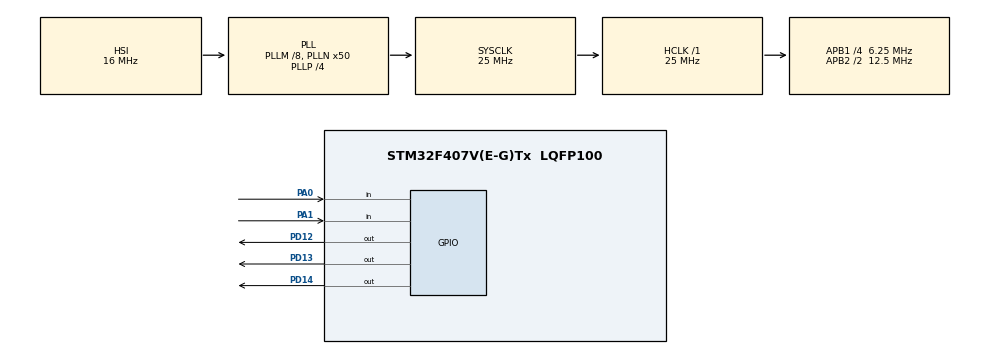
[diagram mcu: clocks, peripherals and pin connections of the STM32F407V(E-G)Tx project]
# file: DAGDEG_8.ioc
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FREERTOS.Queues01=ledIdentifer,1,uint16_t,0,Dynamic,NULL,NULL
FREERTOS.Tasks01=selectTask,24,1024,selectTaskFunction,Default,NULL,Dynamic,NULL,NULL;ledTask,8,1024,ledTaskFunction,Default,NULL,Dynamic,NULL,NULL
Mcu.Family=STM32F4
Mcu.Name=STM32F407V(E-G)Tx
Mcu.Package=LQFP100
NVIC.PriorityGroup=NVIC_PRIORITYGROUP_4
NVIC.TIM1_UP_TIM10_IRQn=true\:15\:0\:false\:false\:true\:false\:false\:true\:true
NVIC.TimeBase=TIM1_UP_TIM10_IRQn
NVIC.TimeBaseIP=TIM1
PA0-WKUP.GPIO_PuPd=GPIO_PULLDOWN
PA0-WKUP.Signal=GPIO_Input
PA1.GPIO_PuPd=GPIO_PULLDOWN
PA1.Signal=GPIO_Input
PD12.Signal=GPIO_Output
PD13.Signal=GPIO_Output
PD14.Signal=GPIO_Output
ProjectManager.HeapSize=0x200
ProjectManager.StackSize=0x400
ProjectManager.TargetToolchain=STM32CubeIDE
RCC.48MHZClocksFreq_Value=14285714.285714285
RCC.AHBFreq_Value=25000000
RCC.APB1CLKDivider=RCC_HCLK_DIV4
RCC.APB1Freq_Value=6250000
RCC.APB1TimFreq_Value=12500000
RCC.APB2CLKDivider=RCC_HCLK_DIV2
RCC.APB2Freq_Value=12500000
RCC.APB2TimFreq_Value=25000000
RCC.CortexFreq_Value=25000000
RCC.HCLKFreq_Value=25000000
RCC.HSE_VALUE=8000000
RCC.HSI_VALUE=16000000
RCC.LSE_VALUE=32768
RCC.PLLM=8
RCC.PLLN=50
RCC.PLLP=RCC_PLLP_DIV4
RCC.PLLQ=7
RCC.SYSCLKFreq_VALUE=25000000
RCC.SYSCLKSource=RCC_SYSCLKSOURCE_PLLCLK
RCC.VCOOutputFreq_Value=100000000
VP_FREERTOS_VS_CMSIS_V2.Mode=CMSIS_V2
VP_SYS_VS_tim1.Mode=TIM1
board=STM32F407G-DISC1

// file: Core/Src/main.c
/* USER CODE BEGIN Header */
/**
  ******************************************************************************
  * @file           : main.c
  * @brief          : Main program body
  ******************************************************************************
  * @attention
  *
  * Copyright (c) 2025 STMicroelectronics.
  * All rights reserved.
  *
  * This software is licensed under terms that can be found in the LICENSE file
  * in the root directory of this software component.
  * If no LICENSE file comes with this software, it is provided AS-IS.
  *
  ******************************************************************************
  */
/* USER CODE END Header */
#include "main.h"
#include "cmsis_os.h"

/* USER CODE BEGIN Includes */
#define ID0 0x00
#define ID1 0x01
#define ID2 0x02
#define ID3 0x03
/* USER CODE END Includes */

/* USER CODE BEGIN PTD */
// Define the LED pins
#define LED_GREEN  GPIO_PIN_12
#define LED_ORANGE GPIO_PIN_13
#define LED_RED   GPIO_PIN_14

// Define the button pins
#define USER_BUTTON  GPIO_PIN_0
#define EXTERNAL_BUTTON GPIO_PIN_1

/* USER CODE END PTD */

/* Definitions for selectTask */
osThreadId_t selectTaskHandle;
const osThreadAttr_t selectTask_attributes = {
  .name = "selectTask",
  .stack_size = 1024 * 4,
  .priority = (osPriority_t) osPriorityNormal,
};
/* Definitions for ledTask */
osThreadId_t ledTaskHandle;
const osThreadAttr_t ledTask_attributes = {
  .name = "ledTask",
  .stack_size = 1024 * 4,
  .priority = (osPriority_t) osPriorityLow,
};
/* Definitions for ledIdentifer */
osMessageQueueId_t ledIdentiferHandle;
const osMessageQueueAttr_t ledIdentifer_attributes = {
  .name = "ledIdentifer"
};

void SystemClock_Config(void);
static void MX_GPIO_Init(void);
void selectTaskFunction(void *argument);
void ledTaskFunction(void *argument);

int main(void)
{

  /* MCU Configuration--------------------------------------------------------*/

  /* Reset of all peripherals, Initializes the Flash interface and the Systick. */
  HAL_Init();

  /* Configure the system clock */
  SystemClock_Config();

  /* Initialize all configured peripherals */
  MX_GPIO_Init();

  /* Init scheduler */
  osKernelInitialize();

  /* Create the queue(s) */
  /* creation of ledIdentifer */
  ledIdentiferHandle = osMessageQueueNew (1, sizeof(uint16_t), &ledIdentifer_attributes);

  /* Create the thread(s) */
  /* creation of selectTask */
  selectTaskHandle = osThreadNew(selectTaskFunction, NULL, &selectTask_attributes);

  /* creation of ledTask */
  ledTaskHandle = osThreadNew(ledTaskFunction, NULL, &ledTask_attributes);

  /* Start scheduler */
  osKernelStart();

  /* We should never get here as control is now taken by the scheduler */

  /* Infinite loop */
  while (1)
  {

  }
}

void SystemClock_Config(void)
{
  RCC_OscInitTypeDef RCC_OscInitStruct = {0};
  RCC_ClkInitTypeDef RCC_ClkInitStruct = {0};

  /** Configure the main internal regulator output voltage
  */
  __HAL_RCC_PWR_CLK_ENABLE();
  __HAL_PWR_VOLTAGESCALING_CONFIG(PWR_REGULATOR_VOLTAGE_SCALE1);

  /** Initializes the RCC Oscillators according to the specified parameters
  * in the RCC_OscInitTypeDef structure.
  */
  RCC_OscInitStruct.OscillatorType = RCC_OSCILLATORTYPE_HSI;
  RCC_OscInitStruct.HSIState = RCC_HSI_ON;
  RCC_OscInitStruct.HSICalibrationValue = RCC_HSICALIBRATION_DEFAULT;
  RCC_OscInitStruct.PLL.PLLState = RCC_PLL_ON;
  RCC_OscInitStruct.PLL.PLLSource = RCC_PLLSOURCE_HSI;
  RCC_OscInitStruct.PLL.PLLM = 8;
  RCC_OscInitStruct.PLL.PLLN = 50;
  RCC_OscInitStruct.PLL.PLLP = RCC_PLLP_DIV4;
  RCC_OscInitStruct.PLL.PLLQ = 7;
  if (HAL_RCC_OscConfig(&RCC_OscInitStruct) != HAL_OK)
  {
    Error_Handler();
  }

  /** Initializes the CPU, AHB and APB buses clocks
  */
  RCC_ClkInitStruct.ClockType = RCC_CLOCKTYPE_HCLK|RCC_CLOCKTYPE_SYSCLK
                              |RCC_CLOCKTYPE_PCLK1|RCC_CLOCKTYPE_PCLK2;
  RCC_ClkInitStruct.SYSCLKSource = RCC_SYSCLKSOURCE_PLLCLK;
  RCC_ClkInitStruct.AHBCLKDivider = RCC_SYSCLK_DIV1;
  RCC_ClkInitStruct.APB1CLKDivider = RCC_HCLK_DIV4;
  RCC_ClkInitStruct.APB2CLKDivider = RCC_HCLK_DIV2;

  if (HAL_RCC_ClockConfig(&RCC_ClkInitStruct, FLASH_LATENCY_0) != HAL_OK)
  {
    Error_Handler();
  }
}

static void MX_GPIO_Init(void)
{
  GPIO_InitTypeDef GPIO_InitStruct = {0};

  /* GPIO Ports Clock Enable */
  __HAL_RCC_GPIOA_CLK_ENABLE();
  __HAL_RCC_GPIOD_CLK_ENABLE();

  /*Configure GPIO pin Output Level */
  HAL_GPIO_WritePin(GPIOD, GPIO_PIN_12|GPIO_PIN_13|GPIO_PIN_14, GPIO_PIN_RESET);

  /*Configure GPIO pins : PA0 PA1 */
  GPIO_InitStruct.Pin = GPIO_PIN_0|GPIO_PIN_1;
  GPIO_InitStruct.Mode = GPIO_MODE_INPUT;
  GPIO_InitStruct.Pull = GPIO_PULLDOWN;
  HAL_GPIO_Init(GPIOA, &GPIO_InitStruct);

  /*Configure GPIO pins : PD12 PD13 PD14 */
  GPIO_InitStruct.Pin = GPIO_PIN_12|GPIO_PIN_13|GPIO_PIN_14;
  GPIO_InitStruct.Mode = GPIO_MODE_OUTPUT_PP;
  GPIO_InitStruct.Pull = GPIO_NOPULL;
  GPIO_InitStruct.Speed = GPIO_SPEED_FREQ_LOW;
  HAL_GPIO_Init(GPIOD, &GPIO_InitStruct);

}

void selectTaskFunction(void *argument)
{
  /* USER CODE BEGIN 5 */
  /* Infinite loop */
	for (;;) {
	        // Read the button states
	        uint16_t buttons = HAL_GPIO_ReadPin(GPIOA, USER_BUTTON) << 0 | HAL_GPIO_ReadPin(GPIOA, EXTERNAL_BUTTON) << 1;

            osMessageQueuePut(ledIdentiferHandle, &buttons, 0, HAL_MAX_DELAY);
	        // Send the LED identifier to the LED task via the queue

	        osDelay(50); // Wait 50 ms before reading again
	    }
  /* USER CODE END 5 */
}

void ledTaskFunction(void *argument)
{
  /* USER CODE BEGIN ledTaskFunction */
  /* Infinite loop */
    for (;;) {
        // Receive the LED identifier from the queue
        uint8_t ledId;
        osMessageQueueGet(ledIdentiferHandle, &ledId, 0, HAL_MAX_DELAY);

        // Turn on the corresponding LED and blink it every 300 ms
        switch (ledId) {

            case ID1:
                HAL_GPIO_TogglePin(GPIOD, LED_GREEN);
                HAL_GPIO_WritePin(GPIOD, LED_ORANGE, GPIO_PIN_RESET);
                HAL_GPIO_WritePin(GPIOD, LED_RED, GPIO_PIN_RESET);
                HAL_Delay(300);
                break;
            case ID2:
                HAL_GPIO_TogglePin(GPIOD, LED_ORANGE);
                HAL_GPIO_WritePin(GPIOD, LED_GREEN, GPIO_PIN_RESET);
                HAL_GPIO_WritePin(GPIOD, LED_RED, GPIO_PIN_RESET);
                HAL_Delay(300);
                break;
            case ID3:
                HAL_GPIO_TogglePin(GPIOD, LED_RED);
                HAL_GPIO_WritePin(GPIOD, LED_ORANGE, GPIO_PIN_RESET);
                HAL_GPIO_WritePin(GPIOD, LED_GREEN, GPIO_PIN_RESET);
                HAL_Delay(300);
                break;
            default:
            	HAL_GPIO_WritePin(GPIOD, LED_ORANGE, GPIO_PIN_RESET);
            	HAL_GPIO_WritePin(GPIOD, LED_GREEN, GPIO_PIN_RESET);
            	HAL_GPIO_WritePin(GPIOD, LED_RED, GPIO_PIN_RESET);
                // No LED should be lit by default
                break;
        }
    }
  /* USER CODE END ledTaskFunction */
}

void HAL_TIM_PeriodElapsedCallback(TIM_HandleTypeDef *htim)
{
  if (htim->Instance == TIM1)
  {
    HAL_IncTick();
  }
}

void Error_Handler(void)
{
  __disable_irq();
  while (1)
  {
  }
}
